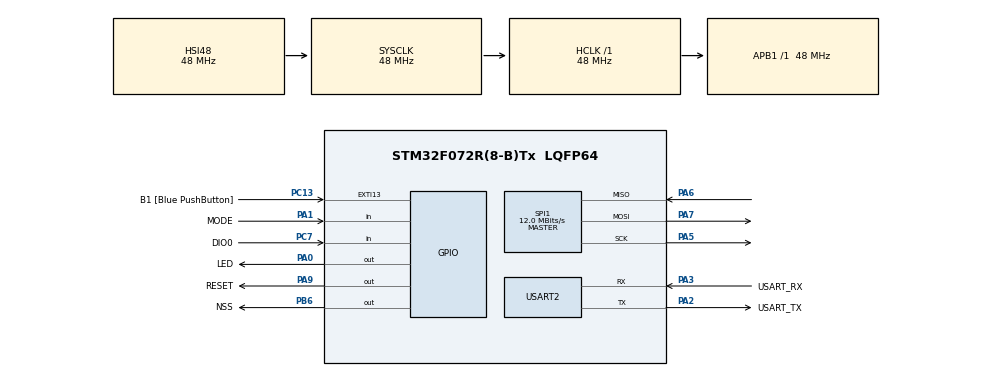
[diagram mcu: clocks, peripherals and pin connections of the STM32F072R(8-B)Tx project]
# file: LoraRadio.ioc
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Mcu.Family=STM32F0
Mcu.Name=STM32F072R(8-B)Tx
Mcu.Package=LQFP64
PA0.GPIO_Label=LED
PA0.Signal=GPIO_Output
PA1.GPIO_Label=MODE
PA1.Signal=GPIO_Input
PA13.GPIO_Label=TMS
PA13.Mode=Serial_Wire
PA13.Signal=SYS_SWDIO
PA14.GPIO_Label=TCK
PA14.Mode=Serial_Wire
PA14.Signal=SYS_SWCLK
PA2.GPIO_Label=USART_TX
PA2.GPIO_Mode=GPIO_MODE_AF_PP
PA2.GPIO_PuPd=GPIO_NOPULL
PA2.GPIO_Speed=GPIO_SPEED_FREQ_LOW
PA2.Mode=Asynchronous
PA2.Signal=USART2_TX
PA3.GPIO_Label=USART_RX
PA3.GPIO_Mode=GPIO_MODE_AF_PP
PA3.GPIO_PuPd=GPIO_NOPULL
PA3.GPIO_Speed=GPIO_SPEED_FREQ_LOW
PA3.Mode=Asynchronous
PA3.Signal=USART2_RX
PA5.Mode=Full_Duplex_Master
PA5.Signal=SPI1_SCK
PA6.Mode=Full_Duplex_Master
PA6.Signal=SPI1_MISO
PA7.Mode=Full_Duplex_Master
PA7.Signal=SPI1_MOSI
PA9.GPIO_Label=RESET
PA9.Signal=GPIO_Output
PB6.GPIO_Label=NSS
PB6.Signal=GPIO_Output
PC13.GPIO_Label=B1 [Blue PushButton]
PC13.GPIO_ModeDefaultEXTI=GPIO_MODE_IT_FALLING
PC13.Signal=GPXTI13
PC14-OSC32_IN.Mode=LSE-External-Oscillator
PC14-OSC32_IN.Signal=RCC_OSC32_IN
PC15-OSC32_OUT.Mode=LSE-External-Oscillator
PC15-OSC32_OUT.Signal=RCC_OSC32_OUT
PC7.GPIO_Label=DIO0
PC7.Signal=GPIO_Input
PF0-OSC_IN.Mode=HSE-External-Clock-Source
PF0-OSC_IN.Signal=RCC_OSC_IN
PF1-OSC_OUT.Signal=RCC_OSC_OUT
ProjectManager.HeapSize=0x200
ProjectManager.StackSize=0x400
ProjectManager.TargetToolchain=STM32CubeIDE
RCC.AHBFreq_Value=48000000
RCC.APB1Freq_Value=48000000
RCC.APB1TimFreq_Value=48000000
RCC.FLatency-AdvancedSettings=FLASH_LATENCY_1
RCC.HCLKFreq_Value=48000000
RCC.PLLDivider=RCC_PREDIV_DIV2
RCC.PLLMUL=RCC_PLL_MUL12
RCC.PREFETCH_ENABLE-AdvancedSettings=1
RCC.SYSCLKFreq_VALUE=48000000
RCC.SYSCLKSource=RCC_SYSCLKSOURCE_HSI48
SPI1.BaudRatePrescaler=SPI_BAUDRATEPRESCALER_4
SPI1.CalculateBaudRate=12.0 MBits/s
SPI1.DataSize=SPI_DATASIZE_8BIT
SPI1.Direction=SPI_DIRECTION_2LINES
SPI1.Mode=SPI_MODE_MASTER
SPI1.VirtualType=VM_MASTER
USART2.VirtualMode=VM_ASYNC
USART2.VirtualMode-Asynchronous=VM_ASYNC
board=NUCLEO-F072RB

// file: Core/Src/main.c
/* USER CODE BEGIN Header */
/**
 ******************************************************************************
 * @file           : main.c
 * @brief          : Main program body
 ******************************************************************************
 * @attention
 *
 * <h2><center>&copy; Copyright (c) 2020 STMicroelectronics.
 * All rights reserved.</center></h2>
 *
 * This software component is licensed by ST under BSD 3-Clause license,
 * the "License"; You may not use this file except in compliance with the
 * License. You may obtain a copy of the License at:
 *                        opensource.org/licenses/BSD-3-Clause
 *
 ******************************************************************************
 */
/* USER CODE END Header */

#include "main.h"
#include "spi.h"
#include "usart.h"
#include "gpio.h"

/* USER CODE BEGIN Includes */

#include <stdio.h>
#include "SX1278.h"

/* USER CODE END Includes */

/* USER CODE BEGIN PV */
/* Private variables ---------------------------------------------------------*/

/* USER CODE END PV */

void SystemClock_Config(void);
/* USER CODE BEGIN PFP */
/* Private function prototypes -----------------------------------------------*/

#ifdef __GNUC__
/* With GCC/RAISONANCE, small printf (option LD Linker->Libraries->Small printf
 set to 'Yes') calls __io_putchar() */
#define PUTCHAR_PROTOTYPE int __io_putchar(int ch)
#else
#define PUTCHAR_PROTOTYPE int fputc(int ch, FILE *f)
#endif /* __GNUC__ */

/* USER CODE END PFP */

/* USER CODE BEGIN 0 */

SX1278_hw_t SX1278_hw;
SX1278_t SX1278;

int master;
int ret;

char buffer[512];

int message;
int message_length;

/* USER CODE END 0 */

int main(void)
{

  /* MCU Configuration--------------------------------------------------------*/

  /* Reset of all peripherals, Initializes the Flash interface and the Systick. */
  HAL_Init();

  /* Configure the system clock */
  SystemClock_Config();

  /* Initialize all configured peripherals */
  MX_GPIO_Init();
  MX_SPI1_Init();
  MX_USART2_UART_Init();
  /* USER CODE BEGIN 2 */
  /*
	master = HAL_GPIO_ReadPin(MODE_GPIO_Port, MODE_Pin);
	if (master == 1) {
		printf("Mode: Master\r\n");
		HAL_GPIO_WritePin(MODE_GPIO_Port, MODE_Pin, GPIO_PIN_RESET);
	} else {
		printf("Mode: Slave\r\n");
		HAL_GPIO_WritePin(MODE_GPIO_Port, MODE_Pin, GPIO_PIN_SET);
	}
*/
	//initialize LoRa module
	SX1278_hw.dio0.port = DIO0_GPIO_Port;
	SX1278_hw.dio0.pin = DIO0_Pin;
	SX1278_hw.nss.port = NSS_GPIO_Port;
	SX1278_hw.nss.pin = NSS_Pin;
	SX1278_hw.reset.port = RESET_GPIO_Port;
	SX1278_hw.reset.pin = RESET_Pin;
	SX1278_hw.spi = &hspi1;

	SX1278.hw = &SX1278_hw;

	printf("Configuring LoRa module\r\n");
	SX1278_init(&SX1278, 434000000, SX1278_POWER_17DBM, SX1278_LORA_SF_7,
			SX1278_LORA_BW_125KHZ, SX1278_LORA_CR_4_5, SX1278_LORA_CRC_EN, 10);
	printf("Done configuring LoRaModule\r\n");

	master = 0;
	if (master == 1) {
		ret = SX1278_LoRaEntryTx(&SX1278, 16, 1000);
		HAL_GPIO_WritePin(LED_GPIO_Port, LED_Pin, GPIO_PIN_SET);
	} else {
		ret = SX1278_LoRaEntryRx(&SX1278, 16, 1000);
		HAL_GPIO_WritePin(LED_GPIO_Port, LED_Pin, GPIO_PIN_RESET);
	}

  /* USER CODE END 2 */

  /* Infinite loop */
  /* USER CODE BEGIN WHILE */
	while (1) {
 		if (master == 1) {
			printf("Master ...\r\n");
			HAL_Delay(1000);
			printf("Sending package...\r\n");

			message_length = sprintf(buffer, "Hello %d", message);
			ret = SX1278_LoRaEntryTx(&SX1278, message_length, 2000);
			printf("Entry: %d\r\n", ret);

			printf("Sending %s\r\n", buffer);
			ret = SX1278_LoRaTxPacket(&SX1278, (uint8_t*) buffer,
					message_length, 2000);
			message += 1;

			printf("Transmission: %d\r\n", ret);
			printf("Package sent...\r\n");

		} else {
			printf("Slave ...\r\n");
			HAL_Delay(100);
			printf("Receiving package...\r\n");

			ret = SX1278_LoRaRxPacket(&SX1278);
			printf("Received: %d\r\n", ret);
			if (ret > 0) {
				SX1278_read(&SX1278, (uint8_t*) buffer, ret);
				printf("Content (%d): %s\r\n", ret, buffer);
			}
			printf("Package received ...\r\n");

		}
/*
		//change mode
		if (GPIO_PIN_RESET == HAL_GPIO_ReadPin(MODE_GPIO_Port, MODE_Pin)) {
			printf("Changing mode\r\n");
			master = ~master & 0x01;
			if (master == 1) {
				ret = SX1278_LoRaEntryTx(&SX1278, 16, 2000);
				HAL_GPIO_WritePin(LED_GPIO_Port, LED_Pin, GPIO_PIN_SET);
			} else {
				ret = SX1278_LoRaEntryRx(&SX1278, 16, 2000);
				HAL_GPIO_WritePin(LED_GPIO_Port, LED_Pin, GPIO_PIN_RESET);
			}
			HAL_Delay(1000);
			while (GPIO_PIN_RESET == HAL_GPIO_ReadPin(MODE_GPIO_Port, MODE_Pin))
				;
		}
		*/
    /* USER CODE END WHILE */

	}
}

void SystemClock_Config(void)
{
  RCC_OscInitTypeDef RCC_OscInitStruct = {0};
  RCC_ClkInitTypeDef RCC_ClkInitStruct = {0};
  RCC_PeriphCLKInitTypeDef PeriphClkInit = {0};

  /** Initializes the CPU, AHB and APB busses clocks
  */
  RCC_OscInitStruct.OscillatorType = RCC_OSCILLATORTYPE_HSI48;
  RCC_OscInitStruct.HSI48State = RCC_HSI48_ON;
  RCC_OscInitStruct.PLL.PLLState = RCC_PLL_NONE;
  if (HAL_RCC_OscConfig(&RCC_OscInitStruct) != HAL_OK)
  {
    Error_Handler();
  }
  /** Initializes the CPU, AHB and APB busses clocks
  */
  RCC_ClkInitStruct.ClockType = RCC_CLOCKTYPE_HCLK|RCC_CLOCKTYPE_SYSCLK
                              |RCC_CLOCKTYPE_PCLK1;
  RCC_ClkInitStruct.SYSCLKSource = RCC_SYSCLKSOURCE_HSI48;
  RCC_ClkInitStruct.AHBCLKDivider = RCC_SYSCLK_DIV1;
  RCC_ClkInitStruct.APB1CLKDivider = RCC_HCLK_DIV1;

  if (HAL_RCC_ClockConfig(&RCC_ClkInitStruct, FLASH_LATENCY_1) != HAL_OK)
  {
    Error_Handler();
  }
  PeriphClkInit.PeriphClockSelection = RCC_PERIPHCLK_USART2;
  PeriphClkInit.Usart2ClockSelection = RCC_USART2CLKSOURCE_PCLK1;
  if (HAL_RCCEx_PeriphCLKConfig(&PeriphClkInit) != HAL_OK)
  {
    Error_Handler();
  }
}

/* USER CODE BEGIN 4 */
/**
 * @brief Retargets the C library printf function to the USART.
 * @param None
 * @retval None
 */
PUTCHAR_PROTOTYPE
{
 /* Place your implementation of fputc here */
 /* e.g. write a character to the USART2 and Loop until the end of transmission */
 HAL_UART_Transmit(&huart2, (uint8_t *)&ch, 1, 0xFFFF);

return ch;
}
/* USER CODE END 4 */

void Error_Handler(void)
{
	while (1) {
	}
}

/************************ (C) COPYRIGHT STMicroelectronics *****END OF FILE****/
